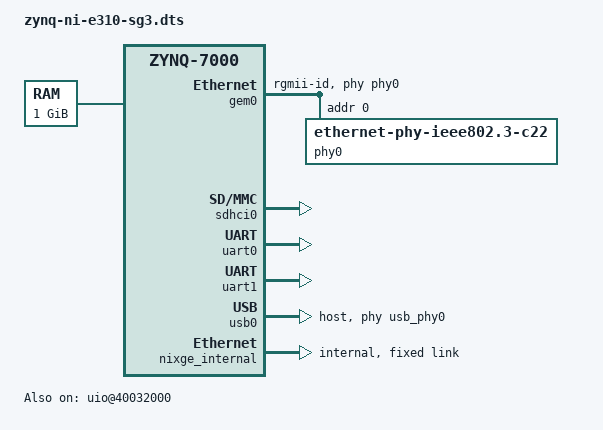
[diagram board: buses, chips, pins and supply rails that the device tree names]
/*
 *  Copyright (C) 2011 - 2014 Xilinx
 *  Copyright (C) 2012 National Instruments Corp.
 *  Copyright (C) 2018 Kurt Kiefer
 *
 * This software is licensed under the terms of the GNU General Public
 * License version 2, as published by the Free Software Foundation, and
 * may be copied, distributed, and modified under those terms.
 *
 * This program is distributed in the hope that it will be useful,
 * but WITHOUT ANY WARRANTY; without even the implied warranty of
 * MERCHANTABILITY or FITNESS FOR A PARTICULAR PURPOSE.  See the
 * GNU General Public License for more details.
 */
/dts-v1/;
/include/ "zynq-7000.dtsi"

/ {
	aliases {
		ethernet0 = &gem0;
		i2c0 = &i2c0;
		serial0 = &uart1;
		serial1 = &uart0;
		spi0 = &spi0;
		spi1 = &spi1;
	};

	memory@0 {
		device_type = "memory";
		reg = <0x0 0x40000000>;
	};

	chosen {
		bootargs = "console=ttyPS0,115200 earlyprintk";
		stdout-path = "serial0:115200n8";
	};

	usb_phy0: phy0@e0002000 {
		compatible = "ulpi-phy";
		#phy-cells = <0>;
		reg = <0xe0002000 0x1000>;
		view-port = <0x0170>;
		drv-vbus;
	};
};

&clkc {
	ps-clk-frequency = <33333333>;
	fclk-enable = <0xf>;
};

&gem0 {
	status = "okay";
	phy-mode = "rgmii-id";
	phy-handle = <&phy0>;

	// nvmem-cells = <&eth0_addr>;
	// nvmem-cell-names = "mac-address";


	phy0: phy@0 { /* Marvell 88e1512 */
		reg = <0>;
		compatible = "ethernet-phy-ieee802.3-c22";
		// reset-gpios = <&gpio0 11 1>;
	};
};

&sdhci0 {
	status = "okay";
};

&spi0 {
	status = "disabled";
};

&uart0 {
	status = "okay";
};

&uart1 {
	status = "okay";
};

&usb0 {
	status = "okay";
	dr_mode = "host";
	usb-phy = <&usb_phy0>;
};


&fpga_full {
	nixge_internal: ethernet@40020000 {
		#address-cells = <1>;
		#size-cells = <1>;
		compatible = "ni,xge-enet-3.00";
		reg = <0x40020000 0x4000
				0x40030000 0x2000>;
		reg-names = "dma", "ctrl";
		clocks = <&clkc 15>;
		clock-names = "bus_clk";

		interrupts = <0 52 4>, <0 53 4>;
		interrupt-names = "rx", "tx";
		interrupt-parent = <&intc>;
		status = "okay";

		phy-mode = "internal";
		local-mac-address = <0x00 0x01 0x02 0x03 0x04 0x05>;

		fixed-link {
			speed = <1000>;
			full-duplex;
		};
	};

	uio@40032000 {
		compatible = "usrp-uio";
		reg = <0x40032000 0x2000>;
		reg-names = "misc-enet-int-regs";
		status = "okay";
	};
};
